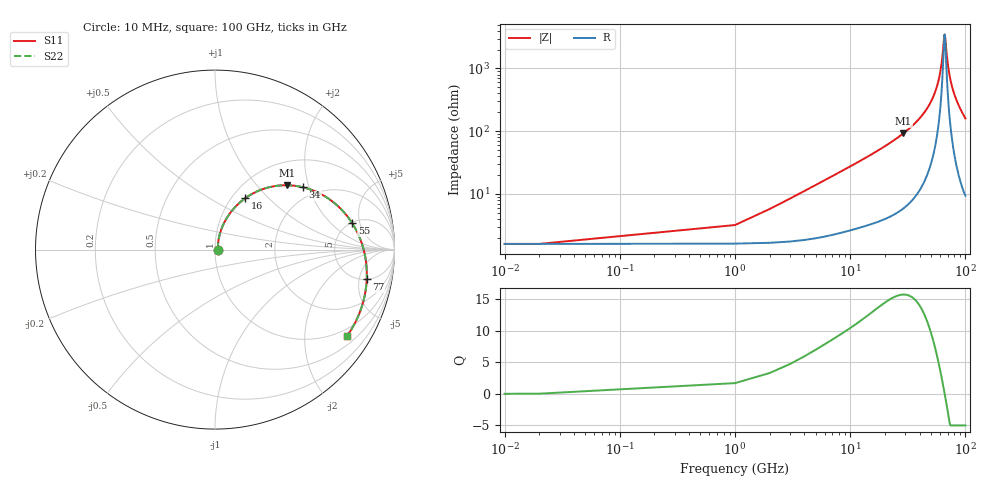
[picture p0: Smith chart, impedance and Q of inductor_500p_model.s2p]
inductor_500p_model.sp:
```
* WIDEBAND RFIC INDUCTOR MODEL WITH SUBSTRATE NETWORK
* Created using inductor_fit.py from inductor_500p.s2p
* Fit band 0.010 to 78.000 GHz, 3 coil segment(s)
* Total element values:
*   Rs = 1.59222
*   Ls = 2.58542e-10
*   Rskin1 = 1.65955
*   Lskin1 = 2.58672e-11
*   Rskin2 = 1494.2
*   Lskin2 = 1.53354e-10
*   Cs = 4.81208e-15
*   Cox1 = 1.49678e-14
*   Rsi1 = 579.486
*   Csi1 = 5.55691e-14
*   Cox2 = 1.49678e-14
*   Rsi2 = 579.486
*   Csi2 = 5.55691e-14
*
.SUBCKT inductor_model p1 p2
* coil segment 1
Rs_1 p1 a1 0.530739
Ls_1 a1 b1 8.61807e-11
Rskin1_1 b1 d1 0.553183
Lskin1_1 b1 d1 8.62241e-12
Rskin2_1 d1 c1 498.068
Lskin2_1 d1 c1 5.11179e-11
* coil segment 2
Rs_2 c1 a2 0.530739
Ls_2 a2 b2 8.61807e-11
Rskin1_2 b2 d2 0.553183
Lskin1_2 b2 d2 8.62241e-12
Rskin2_2 d2 c2 498.068
Lskin2_2 d2 c2 5.11179e-11
* coil segment 3
Rs_3 c2 a3 0.530739
Ls_3 a3 b3 8.61807e-11
Rskin1_3 b3 d3 0.553183
Lskin1_3 b3 d3 8.62241e-12
Rskin2_3 d3 p2 498.068
Lskin2_3 d3 p2 5.11179e-11
Cs p1 p2 4.81208e-15
* substrate network at p1
Cox_n0 p1 s0 4.98925e-15
Rsi_n0 s0 0 1738.46
Csi_n0 s0 0 1.8523e-14
* substrate network at c1
Cox_n1 c1 s1 9.9785e-15
Rsi_n1 s1 0 869.229
Csi_n1 s1 0 3.7046e-14
* substrate network at c2
Cox_n2 c2 s2 9.9785e-15
Rsi_n2 s2 0 869.229
Csi_n2 s2 0 3.7046e-14
* substrate network at p2
Cox_n3 p2 s3 4.98925e-15
Rsi_n3 s3 0 1738.46
Csi_n3 s3 0 1.8523e-14
.ENDS
```
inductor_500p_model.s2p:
! Inductor model fitted by inductor_fit.py from inductor_500p.s2p
#  Hz  S  RI  R  50
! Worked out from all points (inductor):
!   102 points, 10 MHz to 100 GHz, reference 50 ohm
!   read as 1/Y11, port 2 shorted: L = 436 pH near 2 GHz
!   highest Q = 15.7 at 29 GHz (marker M1), where L = 507 pH
!   self-resonance near 66 GHz
!   S11 on the Smith chart (normalised r, x): 10 MHz: 1.03, +0.00; 16 GHz: 1.15, +0.74; 34 GHz: 1.68, +1.83; 55 GHz: 5.10, +3.81; 77 GHz: 5.04, -6.45; 100 GHz: 0.76, -3.21
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1e7  0.0157 0.000219  0.9843 -0.000314  0.9843 -0.000314  0.0157 0.000219
2e9  0.0183 0.044  0.9799 -0.062  0.9799 -0.062  0.0183 0.044
5e9  0.0335 0.1086  0.9609 -0.1492  0.9609 -0.1492  0.0335 0.1086
9e9  0.0714 0.1852  0.9196 -0.2543  0.9196 -0.2543  0.0714 0.1852
1.6e10  0.1695 0.2871  0.8158 -0.407  0.8158 -0.407  0.1695 0.2871
2.9e10  0.402 0.3585  0.5658 -0.5753  0.5658 -0.5753  0.402 0.3585
3.4e10  0.4909 0.3471  0.4673 -0.6021  0.4673 -0.6021  0.4909 0.3471
5.1e10  0.7272 0.1979  0.183 -0.5874  0.183 -0.5874  0.7272 0.1979
5.5e10  0.7643 0.1472  0.1306 -0.5696  0.1306 -0.5696  0.7643 0.1472
7.7e10  0.8454 -0.1652  -0.0756 -0.4481  -0.0756 -0.4481  0.8454 -0.1652
1e11  0.7368 -0.4794  -0.2221 -0.3413  -0.2221 -0.3413  0.7368 -0.4794
